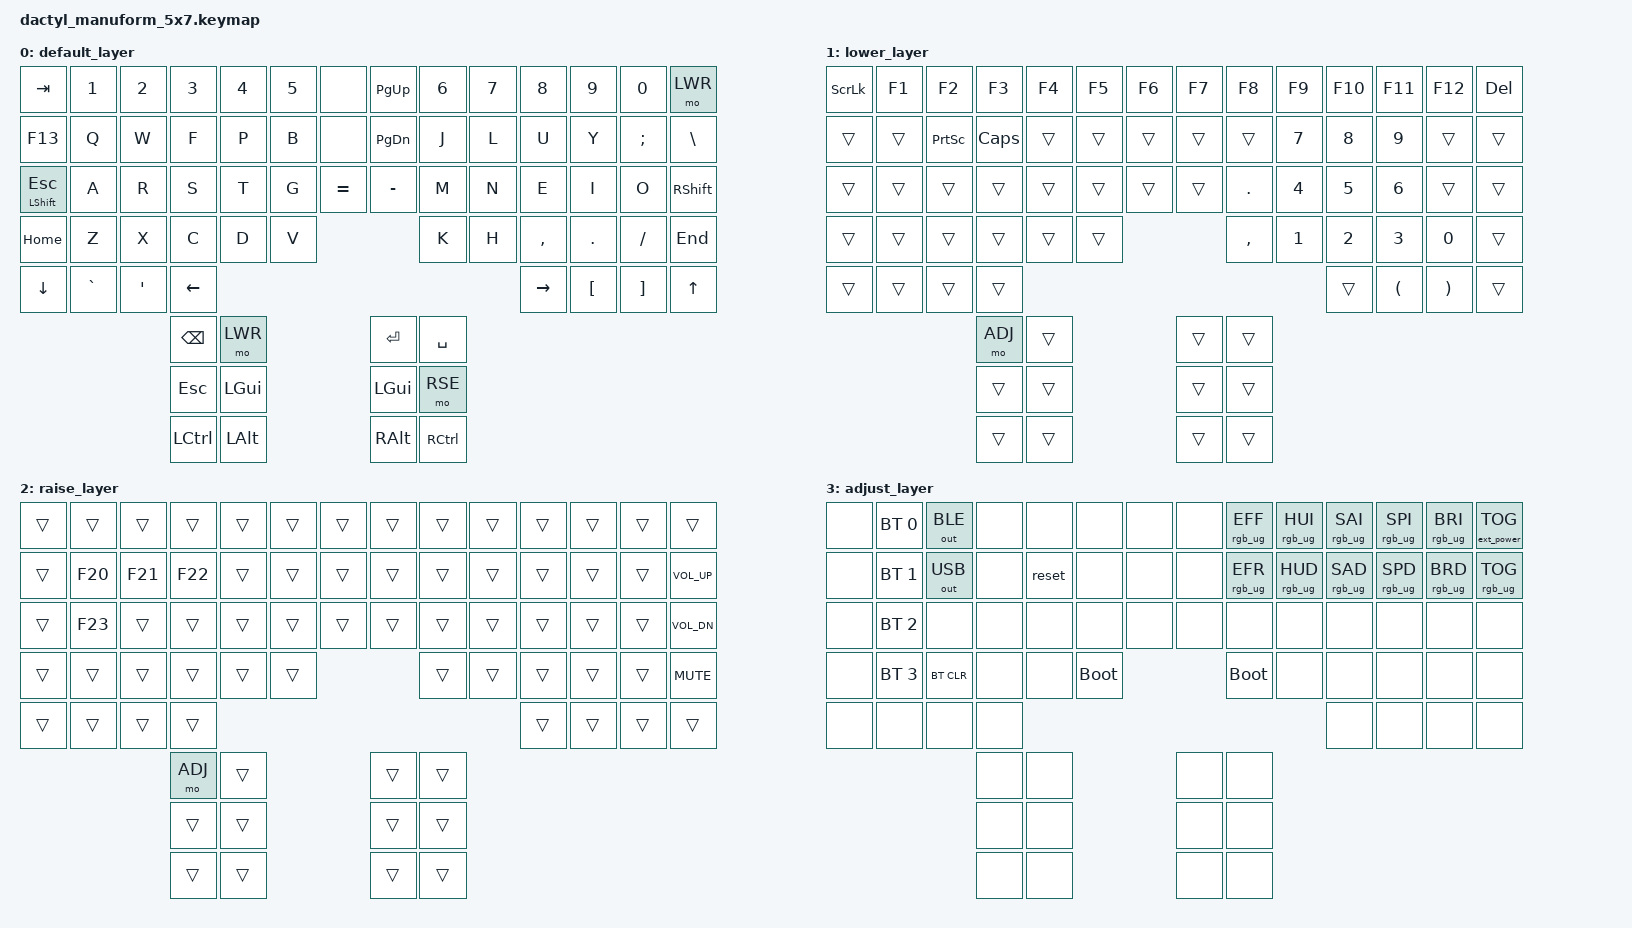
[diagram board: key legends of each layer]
#include <behaviors.dtsi>
#include <dt-bindings/zmk/keys.h>
#include <dt-bindings/zmk/bt.h>
#include <dt-bindings/zmk/rgb.h>
#include <dt-bindings/zmk/ext_power.h>
#include <dt-bindings/zmk/outputs.h>

#define DEFAULT 0
#define LWR 1
#define RSE 2
#define ADJ 3

/ {
    behaviors {
        pht: positional_hold_tap {
            compatible = "zmk,behavior-hold-tap";
            label = "POSITIONAL_HOLD_TAP";
            #binding-cells = <2>;
            flavor = "hold-preferred";
            tapping-term-ms = <200>;
            quick-tap-ms = <200>;
            bindings = <&kp>, <&kp>;
        };
    };
    keymap {
        compatible = "zmk,keymap";

        default_layer {
            bindings = <
                &kp TAB   &kp N1   &kp N2 &kp N3 &kp N4 &kp N5 &none       &kp PG_UP &kp N6  &kp N7 &kp N8   &kp N9    &kp N0    &mo LWR
                &kp F13   &kp Q    &kp W  &kp F  &kp P  &kp B  &none       &kp PG_DN &kp J  &kp L  &kp U     &kp Y     &kp SEMI  &kp BSLH
           &pht LSHFT ESC &kp A    &kp R  &kp S  &kp T  &kp G  &kp EQUAL   &kp MINUS &kp M  &kp N  &kp E     &kp I     &kp O     &kp RSHFT
                &kp HOME  &kp Z    &kp X  &kp C  &kp D  &kp V                       &kp K  &kp H  &kp COMMA  &kp DOT   &kp FSLH  &kp END
                &kp DOWN  &kp GRAVE &kp SQT &kp LEFT                                              &kp RIGHT  &kp LBKT  &kp RBKT    &kp UP
                                            &kp BSPC  &mo LWR                   &kp RET  &kp SPACE
                                            &kp ESC   &kp LGUI                  &kp LGUI &mo RSE
                                            &kp LCTRL &kp LALT                  &kp RALT &kp RCTRL
            >;
        };

        lower_layer {
            bindings = <
               &kp SLCK &kp F1 &kp F2    &kp F3 &kp F4 &kp F5 &kp F6          &kp F7 &kp F8    &kp F9   &kp F10  &kp F11  &kp F12   &kp DEL
                &trans  &trans &kp PSCRN &kp CAPS &trans &trans &trans        &trans &trans    &kp N7   &kp N8   &kp N9   &trans    &trans
                &trans  &trans &trans    &trans &trans &trans &trans          &trans &kp DOT   &kp N4   &kp N5   &kp N6   &trans    &trans
                &trans  &trans &trans    &trans &trans &trans                        &kp COMMA &kp N1   &kp N2   &kp N3   &kp N0    &trans
                &trans  &trans &trans    &trans                                                      &trans   &kp LPAR &kp RPAR    &trans
                                             &mo ADJ &trans                        &trans &trans
                                             &trans  &trans                        &trans &trans
                                             &trans  &trans                        &trans &trans
            >;
        };

        raise_layer {
            bindings = <
              &trans  &trans &trans &trans &trans &trans &trans         &trans  &trans &trans &trans &trans &trans &trans
             &trans &kp F20 &kp F21 &kp F22 &trans &trans &trans        &trans  &trans &trans &trans &trans &trans &kp K_VOL_UP
              &trans &kp F23 &trans &trans &trans &trans &trans         &trans  &trans &trans &trans &trans &trans &kp K_VOL_DN
              &trans  &trans &trans &trans &trans &trans                        &trans &trans &trans &trans &trans &kp K_MUTE
              &trans  &trans &trans &trans                                                    &trans &trans &trans &trans
                                             &mo ADJ &trans                       &trans &trans
                                             &trans  &trans                       &trans &trans
                                             &trans  &trans                       &trans &trans
            >;
        };

        adjust_layer {
            bindings = <
                &none &bt BT_SEL 0 &out OUT_BLE &none &none  &none &none        &none &rgb_ug RGB_EFF &rgb_ug RGB_HUI &rgb_ug RGB_SAI &rgb_ug RGB_SPI &rgb_ug RGB_BRI &ext_power EP_TOG
                &none &bt BT_SEL 1 &out OUT_USB &none &reset &none &none        &none &rgb_ug RGB_EFR &rgb_ug RGB_HUD &rgb_ug RGB_SAD &rgb_ug RGB_SPD &rgb_ug RGB_BRD &rgb_ug RGB_TOG
                &none &bt BT_SEL 2 &none        &none &none  &none &none        &none &none           &none           &none           &none           &none           &none 
                &none &bt BT_SEL 3 &bt BT_CLR   &none &none  &bootloader              &bootloader     &none           &none           &none           &none           &none
                &none &none        &none        &none                                                                 &none           &none           &none           &none
                                                            &none &none                      &none &none
                                                                  &none &none          &none &none
                                                                  &none &none          &none &none
            >;
        };
    };
};
